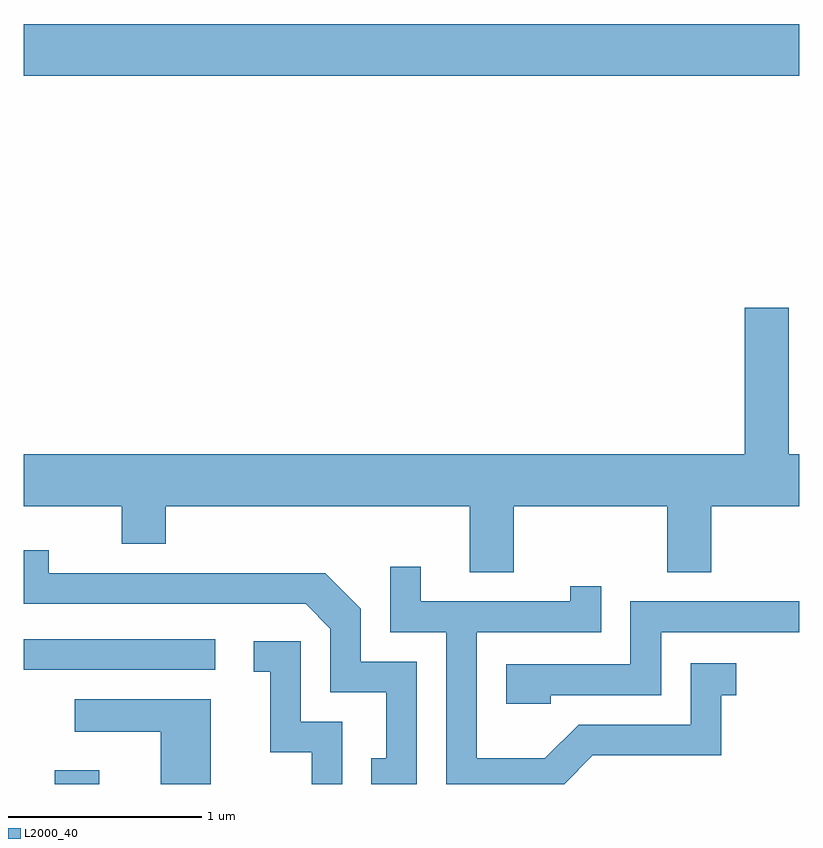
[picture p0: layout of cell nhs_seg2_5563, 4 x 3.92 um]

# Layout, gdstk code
import gdstk
lib = gdstk.Library(unit=1e-6, precision=1e-09)
def R(c, l, rs):  # rectangles x0, y0, x1, y1
    for r in rs: c.add(gdstk.rectangle(r[:2], r[2:], *l))
def P(c, l, *ps):  # polygons
    for p in ps: c.add(gdstk.Polygon(p, *l))
L2000_40 = (2000, 40)

nhs_seg2_5563 = lib.new_cell('nhs_seg2_5563')
R(nhs_seg2_5563, L2000_40, [(349.771,1015.802,349.999,1015.874), (349.611,1016.391,350.598,1016.549), (349.611,1019.456,353.611,1019.724)])
P(nhs_seg2_5563, L2000_40, [(352.139,1017.236),(352.931,1017.236),(352.931,1016.896),(353.159,1016.896),(353.159,1017.236),(353.611,1017.236),(353.611,1017.504),(353.559,1017.504),(353.559,1018.259),(353.331,1018.259),(353.331,1017.504),(349.611,1017.504),(349.611,1017.236),(350.116,1017.236),(350.116,1017.041),(350.344,1017.041),(350.344,1017.236),(351.911,1017.236),(351.911,1016.896),(352.139,1016.896)],
  [(351.639,1016.434),(351.349,1016.434),(351.349,1016.707),(351.167,1016.889),(349.739,1016.889),(349.739,1017.009),(349.611,1017.009),(349.611,1016.731),(351.064,1016.731),(351.191,1016.604),(351.191,1016.276),(351.481,1016.276),(351.481,1015.934),(351.403,1015.934),(351.403,1015.802),(351.639,1015.802)],
  [(352.547,1015.951),(353.209,1015.951),(353.209,1016.261),(353.288,1016.261),(353.288,1016.424),(353.051,1016.424),(353.051,1016.109),(352.474,1016.109),(352.299,1015.934),(351.949,1015.934),(351.949,1016.586),(352.589,1016.586),(352.589,1016.823),(352.431,1016.823),(352.431,1016.744),(351.659,1016.744),(351.659,1016.923),(351.501,1016.923),(351.501,1016.586),(351.791,1016.586),(351.791,1015.802),(352.398,1015.802)],
  [(352.329,1016.261),(352.899,1016.261),(352.899,1016.586),(353.611,1016.586),(353.611,1016.744),(352.741,1016.744),(352.741,1016.419),(352.101,1016.419),(352.101,1016.216),(352.329,1016.216)],
  [(351.254,1016.124),(351.039,1016.124),(351.039,1016.539),(350.798,1016.539),(350.798,1016.381),(350.881,1016.381),(350.881,1015.966),(351.096,1015.966),(351.096,1015.802),(351.254,1015.802)],
  [(350.574,1016.239),(349.873,1016.239),(349.873,1016.071),(350.316,1016.071),(350.316,1015.802),(350.574,1015.802)])

lib.write_gds('nhs_seg2_5563.gds')
